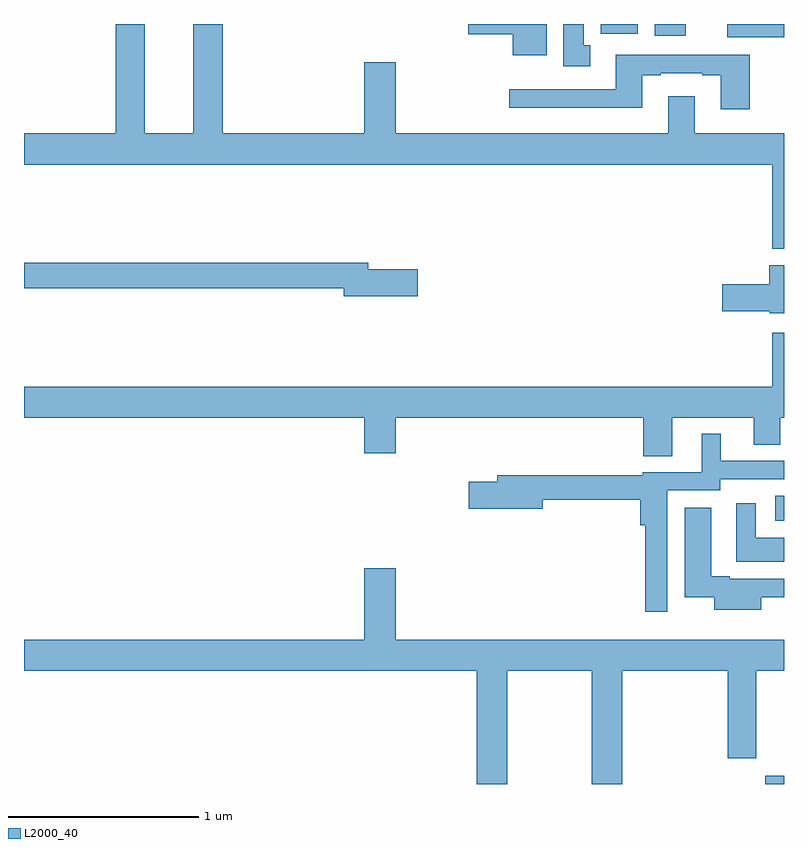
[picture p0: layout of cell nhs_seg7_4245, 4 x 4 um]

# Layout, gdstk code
import gdstk
lib = gdstk.Library(unit=1e-6, precision=1e-09)
def R(c, l, rs):  # rectangles x0, y0, x1, y1
    for r in rs: c.add(gdstk.rectangle(r[:2], r[2:], *l))
def P(c, l, *ps):  # polygons
    for p in ps: c.add(gdstk.Polygon(p, *l))
L2000_40 = (2000, 40)

nhs_seg7_4245 = lib.new_cell('nhs_seg7_4245')
R(nhs_seg7_4245, L2000_40, [(382.901,1020,383,1020.043), (382.953,1021.385,383,1021.516), (382.7,1023.929,383,1024), (382.319,1023.939,382.483,1024), (382.035,1023.948,382.231,1024)])
P(nhs_seg7_4245, L2000_40, [(381.979,1023.889),(381.946,1023.889),(381.946,1024),(381.839,1024),(381.839,1023.777),(381.979,1023.777)],
  [(383,1023.424),(382.531,1023.424),(382.531,1023.619),(382.391,1023.619),(382.391,1023.424),(380.956,1023.424),(380.956,1023.799),(380.792,1023.799),(380.792,1023.424),(380.045,1023.424),(380.045,1024),(379.892,1024),(379.892,1023.424),(379.636,1023.424),(379.636,1024),(379.484,1024),(379.484,1023.424),(379,1023.424),(379,1023.26),(382.938,1023.26),(382.938,1022.816),(383,1022.816)],
  [(381.751,1024),(381.338,1024),(381.338,1023.947),(381.572,1023.947),(381.572,1023.836),(381.751,1023.836)],
  [(382.82,1023.837),(382.115,1023.837),(382.115,1023.657),(381.555,1023.657),(381.555,1023.56),(382.255,1023.56),(382.255,1023.729),(382.351,1023.729),(382.351,1023.741),(382.571,1023.741),(382.571,1023.729),(382.667,1023.729),(382.667,1023.552),(382.82,1023.552)],
  [(381.073,1022.708),(380.812,1022.708),(380.812,1022.744),(379,1022.744),(379,1022.608),(380.684,1022.608),(380.684,1022.566),(381.073,1022.566)],
  [(383,1022.731),(382.922,1022.731),(382.922,1022.63),(382.674,1022.63),(382.674,1022.488),(382.926,1022.488),(382.926,1022.477),(383,1022.477)],
  [(382.411,1021.928),(382.841,1021.928),(382.841,1021.786),(382.981,1021.786),(382.981,1021.928),(383,1021.928),(383,1022.374),(382.938,1022.374),(382.938,1022.092),(379,1022.092),(379,1021.928),(380.792,1021.928),(380.792,1021.74),(380.956,1021.74),(380.956,1021.928),(382.259,1021.928),(382.259,1021.726),(382.411,1021.726)],
  [(382.386,1021.545),(382.665,1021.545),(382.665,1021.605),(383,1021.605),(383,1021.701),(382.666,1021.701),(382.666,1021.843),(382.568,1021.843),(382.568,1021.641),(382.256,1021.641),(382.256,1021.624),(381.491,1021.624),(381.491,1021.59),(381.342,1021.59),(381.342,1021.448),(381.73,1021.448),(381.73,1021.495),(382.244,1021.495),(382.244,1021.361),(382.27,1021.361),(382.27,1020.906),(382.386,1020.906)],
  [(383,1021.297),(382.852,1021.297),(382.852,1021.477),(382.748,1021.477),(382.748,1021.169),(383,1021.169)],
  [(382.879,1020.984),(383,1020.984),(383,1021.08),(382.714,1021.08),(382.714,1021.093),(382.618,1021.093),(382.618,1021.453),(382.478,1021.453),(382.478,1020.982),(382.634,1020.982),(382.634,1020.917),(382.879,1020.917)],
  [(381.543,1020.596),(381.988,1020.596),(381.988,1020),(382.148,1020),(382.148,1020.596),(382.703,1020.596),(382.703,1020.135),(382.855,1020.135),(382.855,1020.596),(383,1020.596),(383,1020.76),(380.956,1020.76),(380.956,1021.135),(380.792,1021.135),(380.792,1020.76),(379,1020.76),(379,1020.596),(381.383,1020.596),(381.383,1020),(381.543,1020)])

lib.write_gds('nhs_seg7_4245.gds')
